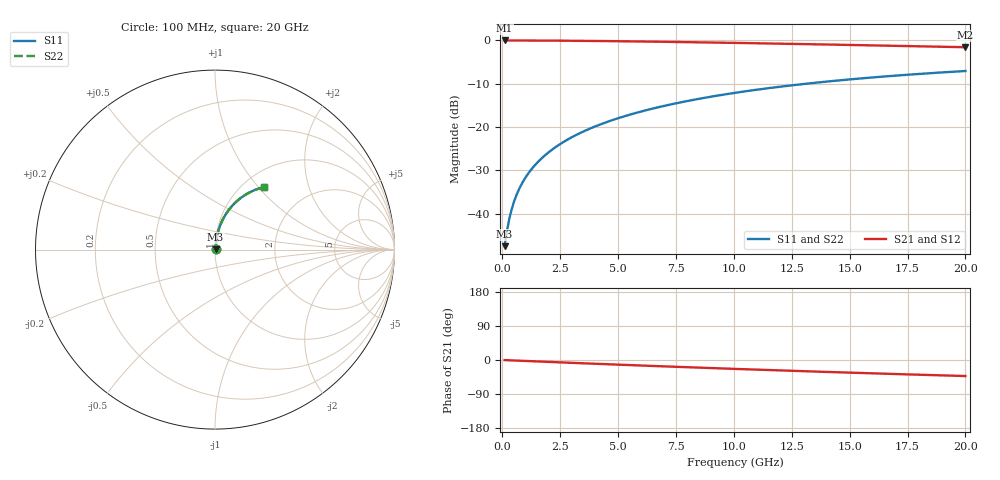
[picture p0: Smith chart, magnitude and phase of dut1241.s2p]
! Touchstone file exported from HFSS 2024.1.0
!  File:  C:/UserFiles/LocalFiles/RDL_TSV_Batchsim/temp_RDL_bottom_1241_1780244993.aedt
!  Generated:  12:32:18 AM Jun  1, 2026
!  Design:  RDL_bottom
!  Project:  temp_RDL_bottom_1241_1780244993
!  Setup:  Setup1
!  Solution:  Sweep
! Variables:
!  dtsv = 10.80580581um
!  hbump = 3um
!  htsv = 59.25um
!  ldown = 581.88um
!  lrdl = 100um
!  p = 40
!  p1 = 47.24um
!  rhole = 1um
!  t = 450um
!  tdown = 4.52um
!  trdl = 3.915915916um
!  wdown = 14.23um
!  wrdl = 20um
# GHz S MA R 50.000000
! Terminal data exported
! Port[1] = RDL1_T1
! Port[2] = RDL1_T2
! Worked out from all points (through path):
!   200 points, 100 MHz to 20 GHz, reference 50 ohm
!   highest |S21| = -0.03 dB at 100 MHz (marker M1); lowest = -1.6 dB at 20 GHz (marker M2)
!   group delay of S21, straight-line fit = 5.86 ps
!   lowest |S11| = -47.5 dB at 100 MHz (marker M3), VSWR 1.01, Z = 50.3 + j0.269 ohm
!   |S11| at or under -10 dB: start of sweep to 13.13 GHz
!   |S22| runs from -47.5 to -7.1 dB; largest |S21 - S12| = 4.4e-15
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0.1  0.004236 39.0  0.9967 -0.3  0.9967 -0.3  0.004236 39.0
! Gamma 0 0 0 0
! Port Impedance 50 0 50 0
0.2  0.006298 57.6  0.9966 -0.5  0.9966 -0.5  0.006298 57.6
0.3  0.008678 66.2  0.9965 -0.8  0.9965 -0.8  0.008678 66.2
0.4  0.01115 70.9  0.9963 -1.0  0.9963 -1.0  0.01115 70.9
0.5  0.01364 73.7  0.9962 -1.3  0.9962 -1.3  0.01364 73.7
0.6  0.01614 75.7  0.996 -1.5  0.996 -1.5  0.01614 75.7
0.8  0.02114 78.1  0.9957 -2.0  0.9957 -2.0  0.02114 78.1
1.1  0.02863 80.0  0.9951 -2.8  0.9951 -2.8  0.02863 80.0
1.5  0.03864 81.1  0.9942 -3.8  0.9942 -3.8  0.03864 81.1
1.8  0.04616 81.5  0.9934 -4.5  0.9934 -4.5  0.04616 81.5
2.1  0.05369 81.6  0.9924 -5.3  0.9924 -5.3  0.05369 81.6
2.7  0.06878 81.4  0.99 -6.8  0.99 -6.8  0.06878 81.4
3.5  0.08888 80.7  0.9861 -8.7  0.9861 -8.7  0.08888 80.7
4.2  0.1064 79.8  0.9821 -10.4  0.9821 -10.4  0.1064 79.8
5  0.1264 78.6  0.9769 -12.3  0.9769 -12.3  0.1264 78.6
5.9  0.1487 77.2  0.9704 -14.4  0.9704 -14.4  0.1487 77.2
6.8  0.1708 75.6  0.9633 -16.4  0.9633 -16.4  0.1708 75.6
8.3  0.2071 73.0  0.9505 -19.8  0.9505 -19.8  0.2071 72.9
10.1  0.2493 69.6  0.9339 -23.6  0.9339 -23.6  0.2493 69.6
13.4  0.3219 63.5  0.9013 -30.3  0.9013 -30.3  0.3219 63.5
16.7  0.3867 57.5  0.8672 -36.5  0.8672 -36.5  0.3867 57.5
20  0.443 51.8  0.8331 -42.3  0.8331 -42.3  0.4429 51.8
